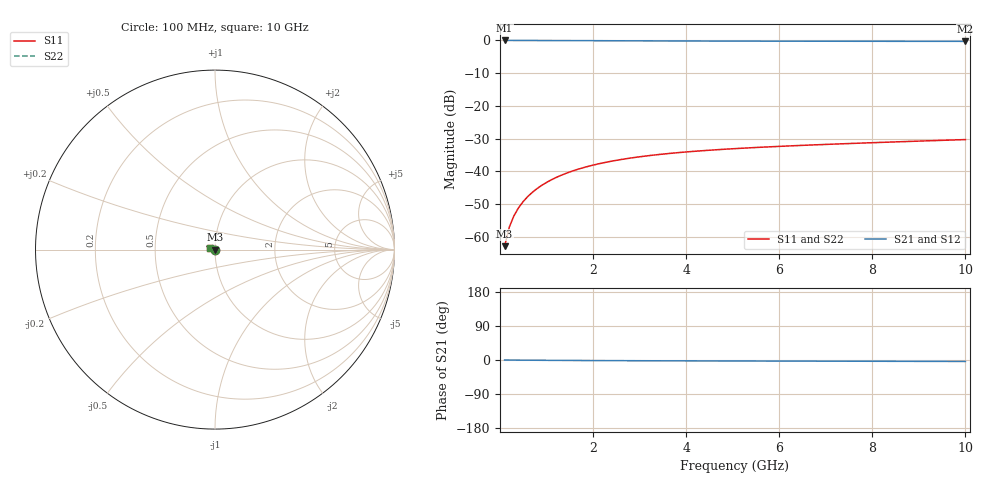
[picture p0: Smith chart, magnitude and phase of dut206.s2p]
! Touchstone file exported from HFSS 2024.1.0
!  File:  C:/UserFiles/LocalFiles/RDL_TSV_Batchsim/temp_TSV1_206_1779386348.aedt
!  Generated:  02:03:15 AM May 22, 2026
!  Design:  TSV1
!  Project:  temp_TSV1_206_1779386348
!  Setup:  Setup1
!  Solution:  Sweep
! Variables:
!  dtsv = 8.12um
!  hbump = 3um
!  htsv = 56.22um
!  lrdl = 252.1521522um
!  p = 40
!  p1 = 50.36um
!  t = 500um
!  trdl = 3um
!  wrdl = 24.89489489um
# GHz S MA R 50.000000
! Terminal data exported
! Port[1] = TSV22_T1
! Port[2] = TSV22_T2
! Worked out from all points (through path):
!   100 points, 100 MHz to 10 GHz, reference 50 ohm
!   highest |S21| = 0.00 dB at 100 MHz (marker M1); lowest = -0.3 dB at 10 GHz (marker M2)
!   lowest |S11| = -62.9 dB at 100 MHz (marker M3), VSWR 1.00, Z = 50 - j0.0702 ohm
!   |S11| at or under -10 dB: start of sweep to end of sweep
!   |S22| runs from -62.9 to -30.3 dB; largest |S21 - S12| = 8.3e-15
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0.1  0.0007181 -77.6  0.9998 -0.1  0.9998 -0.1  0.0007181 -77.6
! Gamma 0 0 0 0
! Port Impedance 50 0 50 0
0.2  0.001401 -86.8  0.9997 -0.2  0.9997 -0.2  0.001401 -86.8
0.3  0.002089 -91.3  0.9996 -0.3  0.9996 -0.3  0.002089 -91.3
0.4  0.002775 -94.6  0.9994 -0.3  0.9994 -0.3  0.002775 -94.6
0.5  0.003458 -97.4  0.9991 -0.4  0.9991 -0.4  0.003458 -97.4
0.6  0.004134 -99.9  0.9989 -0.5  0.9989 -0.5  0.004134 -99.9
0.7  0.004804 -102.3  0.9985 -0.6  0.9985 -0.6  0.004804 -102.3
0.8  0.005466 -104.5  0.9982 -0.7  0.9982 -0.7  0.005466 -104.5
0.9  0.006118 -106.7  0.9978 -0.7  0.9978 -0.7  0.006118 -106.7
1.1  0.007389 -110.8  0.9969 -0.9  0.9969 -0.9  0.007389 -110.8
1.4  0.009201 -116.6  0.9953 -1.1  0.9953 -1.1  0.009201 -116.6
1.6  0.01034 -120.3  0.9942 -1.2  0.9942 -1.2  0.01034 -120.3
1.8  0.01142 -123.9  0.9931 -1.4  0.9931 -1.4  0.01142 -123.9
2.1  0.01292 -129.0  0.9913 -1.5  0.9913 -1.5  0.01292 -129.0
2.5  0.01472 -135.3  0.9889 -1.7  0.9889 -1.7  0.01472 -135.3
2.9  0.01631 -141.1  0.9867 -1.9  0.9867 -1.9  0.01631 -141.1
3.4  0.01802 -147.8  0.9841 -2.1  0.9841 -2.1  0.01802 -147.8
4.2  0.02028 -157.2  0.9805 -2.3  0.9805 -2.3  0.02028 -157.2
5.1  0.02233 -166.2  0.9773 -2.6  0.9773 -2.6  0.02233 -166.2
6.7  0.02527 -179.3  0.9733 -3.0  0.9733 -3.0  0.02527 -179.3
8.4  0.02801 169.6  0.9705 -3.4  0.9705 -3.4  0.02801 169.6
10  0.03055 161.0  0.9687 -3.9  0.9687 -3.9  0.03055 161.0
